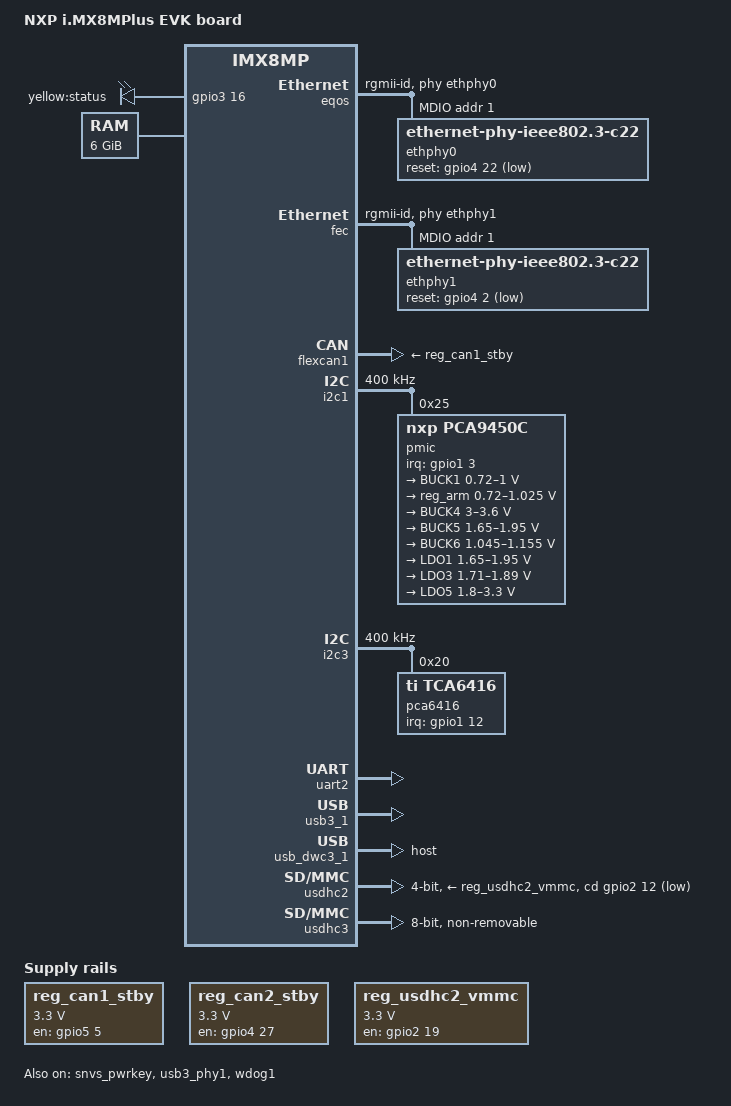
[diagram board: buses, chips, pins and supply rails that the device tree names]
// SPDX-License-Identifier: (GPL-2.0+ OR MIT)
/*
 * Copyright 2019 NXP
 */

/dts-v1/;

#include "imx8mp.dtsi"

/ {
	model = "NXP i.MX8MPlus EVK board";
	compatible = "fsl,imx8mp-evk", "fsl,imx8mp";

	chosen {
		stdout-path = &uart2;
	};

	gpio-leds {
		compatible = "gpio-leds";
		pinctrl-names = "default";
		pinctrl-0 = <&pinctrl_gpio_led>;

		status {
			label = "yellow:status";
			gpios = <&gpio3 16 GPIO_ACTIVE_HIGH>;
			default-state = "on";
		};
	};

	memory@40000000 {
		device_type = "memory";
		reg = <0x0 0x40000000 0 0xc0000000>,
		      <0x1 0x00000000 0 0xc0000000>;
	};

	reg_can1_stby: regulator-can1-stby {
		compatible = "regulator-fixed";
		regulator-name = "can1-stby";
		pinctrl-names = "default";
		pinctrl-0 = <&pinctrl_flexcan1_reg>;
		regulator-min-microvolt = <3300000>;
		regulator-max-microvolt = <3300000>;
		gpio = <&gpio5 5 GPIO_ACTIVE_HIGH>;
		enable-active-high;
	};

	reg_can2_stby: regulator-can2-stby {
		compatible = "regulator-fixed";
		regulator-name = "can2-stby";
		pinctrl-names = "default";
		pinctrl-0 = <&pinctrl_flexcan2_reg>;
		regulator-min-microvolt = <3300000>;
		regulator-max-microvolt = <3300000>;
		gpio = <&gpio4 27 GPIO_ACTIVE_HIGH>;
		enable-active-high;
	};

	reg_usdhc2_vmmc: regulator-usdhc2 {
		compatible = "regulator-fixed";
		pinctrl-names = "default";
		pinctrl-0 = <&pinctrl_reg_usdhc2_vmmc>;
		regulator-name = "VSD_3V3";
		regulator-min-microvolt = <3300000>;
		regulator-max-microvolt = <3300000>;
		gpio = <&gpio2 19 GPIO_ACTIVE_HIGH>;
		enable-active-high;
	};
};

&A53_0 {
	cpu-supply = <&reg_arm>;
};

&A53_1 {
	cpu-supply = <&reg_arm>;
};

&A53_2 {
	cpu-supply = <&reg_arm>;
};

&A53_3 {
	cpu-supply = <&reg_arm>;
};

&eqos {
	pinctrl-names = "default";
	pinctrl-0 = <&pinctrl_eqos>;
	phy-mode = "rgmii-id";
	phy-handle = <&ethphy0>;
	snps,force_thresh_dma_mode;
	snps,mtl-tx-config = <&mtl_tx_setup>;
	snps,mtl-rx-config = <&mtl_rx_setup>;
	status = "okay";

	mdio {
		compatible = "snps,dwmac-mdio";
		#address-cells = <1>;
		#size-cells = <0>;

		ethphy0: ethernet-phy@1 {
			compatible = "ethernet-phy-ieee802.3-c22";
			reg = <1>;
			eee-broken-1000t;
			reset-gpios = <&gpio4 22 GPIO_ACTIVE_LOW>;
			reset-assert-us = <10000>;
			reset-deassert-us = <80000>;
			realtek,clkout-disable;
		};
	};

	mtl_tx_setup: tx-queues-config {
		snps,tx-queues-to-use = <5>;
		snps,tx-sched-sp;

		queue0 {
			snps,dcb-algorithm;
			snps,priority = <0x1>;
		};

		queue1 {
			snps,dcb-algorithm;
			snps,priority = <0x2>;
		};

		queue2 {
			snps,dcb-algorithm;
			snps,priority = <0x4>;
		};

		queue3 {
			snps,dcb-algorithm;
			snps,priority = <0x8>;
		};

		queue4 {
			snps,dcb-algorithm;
			snps,priority = <0xf0>;
		};
	};

	mtl_rx_setup: rx-queues-config {
		snps,rx-queues-to-use = <5>;
		snps,rx-sched-sp;

		queue0 {
			snps,dcb-algorithm;
			snps,priority = <0x1>;
			snps,map-to-dma-channel = <0>;
		};

		queue1 {
			snps,dcb-algorithm;
			snps,priority = <0x2>;
			snps,map-to-dma-channel = <1>;
		};

		queue2 {
			snps,dcb-algorithm;
			snps,priority = <0x4>;
			snps,map-to-dma-channel = <2>;
		};

		queue3 {
			snps,dcb-algorithm;
			snps,priority = <0x8>;
			snps,map-to-dma-channel = <3>;
		};

		queue4 {
			snps,dcb-algorithm;
			snps,priority = <0xf0>;
			snps,map-to-dma-channel = <4>;
		};
	};
};

&fec {
	pinctrl-names = "default";
	pinctrl-0 = <&pinctrl_fec>;
	phy-mode = "rgmii-id";
	phy-handle = <&ethphy1>;
	fsl,magic-packet;
	status = "okay";

	mdio {
		#address-cells = <1>;
		#size-cells = <0>;

		ethphy1: ethernet-phy@1 {
			compatible = "ethernet-phy-ieee802.3-c22";
			reg = <1>;
			eee-broken-1000t;
			reset-gpios = <&gpio4 2 GPIO_ACTIVE_LOW>;
			reset-assert-us = <10000>;
			reset-deassert-us = <80000>;
			realtek,clkout-disable;
		};
	};
};

&flexcan1 {
	pinctrl-names = "default";
	pinctrl-0 = <&pinctrl_flexcan1>;
	xceiver-supply = <&reg_can1_stby>;
	status = "okay";
};

&flexcan2 {
	pinctrl-names = "default";
	pinctrl-0 = <&pinctrl_flexcan2>;
	xceiver-supply = <&reg_can2_stby>;
	status = "disabled";/* can2 pin conflict with pdm */
};

&i2c1 {
	clock-frequency = <400000>;
	pinctrl-names = "default";
	pinctrl-0 = <&pinctrl_i2c1>;
	status = "okay";

	pmic@25 {
		compatible = "nxp,pca9450c";
		reg = <0x25>;
		pinctrl-names = "default";
		pinctrl-0 = <&pinctrl_pmic>;
		interrupt-parent = <&gpio1>;
		interrupts = <3 IRQ_TYPE_LEVEL_LOW>;

		regulators {
			BUCK1 {
				regulator-name = "BUCK1";
				regulator-min-microvolt = <720000>;
				regulator-max-microvolt = <1000000>;
				regulator-boot-on;
				regulator-always-on;
				regulator-ramp-delay = <3125>;
			};

			reg_arm: BUCK2 {
				regulator-name = "BUCK2";
				regulator-min-microvolt = <720000>;
				regulator-max-microvolt = <1025000>;
				regulator-boot-on;
				regulator-always-on;
				regulator-ramp-delay = <3125>;
				nxp,dvs-run-voltage = <950000>;
				nxp,dvs-standby-voltage = <850000>;
			};

			BUCK4 {
				regulator-name = "BUCK4";
				regulator-min-microvolt = <3000000>;
				regulator-max-microvolt = <3600000>;
				regulator-boot-on;
				regulator-always-on;
			};

			BUCK5 {
				regulator-name = "BUCK5";
				regulator-min-microvolt = <1650000>;
				regulator-max-microvolt = <1950000>;
				regulator-boot-on;
				regulator-always-on;
			};

			BUCK6 {
				regulator-name = "BUCK6";
				regulator-min-microvolt = <1045000>;
				regulator-max-microvolt = <1155000>;
				regulator-boot-on;
				regulator-always-on;
			};

			LDO1 {
				regulator-name = "LDO1";
				regulator-min-microvolt = <1650000>;
				regulator-max-microvolt = <1950000>;
				regulator-boot-on;
				regulator-always-on;
			};

			LDO3 {
				regulator-name = "LDO3";
				regulator-min-microvolt = <1710000>;
				regulator-max-microvolt = <1890000>;
				regulator-boot-on;
				regulator-always-on;
			};

			LDO5 {
				regulator-name = "LDO5";
				regulator-min-microvolt = <1800000>;
				regulator-max-microvolt = <3300000>;
				regulator-boot-on;
				regulator-always-on;
			};
		};
	};
};

&i2c3 {
	clock-frequency = <400000>;
	pinctrl-names = "default";
	pinctrl-0 = <&pinctrl_i2c3>;
	status = "okay";

	pca6416: gpio@20 {
		compatible = "ti,tca6416";
		reg = <0x20>;
		gpio-controller;
		#gpio-cells = <2>;
		interrupt-controller;
		#interrupt-cells = <2>;
		pinctrl-names = "default";
		pinctrl-0 = <&pinctrl_pca6416_int>;
		interrupt-parent = <&gpio1>;
		interrupts = <12 IRQ_TYPE_LEVEL_LOW>;
		gpio-line-names = "EXT_PWREN1",
			"EXT_PWREN2",
			"CAN1/I2C5_SEL",
			"PDM/CAN2_SEL",
			"FAN_EN",
			"PWR_MEAS_IO1",
			"PWR_MEAS_IO2",
			"EXP_P0_7",
			"EXP_P1_0",
			"EXP_P1_1",
			"EXP_P1_2",
			"EXP_P1_3",
			"EXP_P1_4",
			"EXP_P1_5",
			"EXP_P1_6",
			"EXP_P1_7";
	};
};

/* I2C on expansion connector J22. */
&i2c5 {
	clock-frequency = <100000>; /* Lower clock speed for external bus. */
	pinctrl-names = "default";
	pinctrl-0 = <&pinctrl_i2c5>;
	status = "disabled"; /* can1 pins conflict with i2c5 */

	/* GPIO 2 of PCA6416 is used to switch between CAN1 and I2C5 functions:
	 *     LOW:  CAN1 (default, pull-down)
	 *     HIGH: I2C5
	 * You need to set it to high to enable I2C5 (for example, add gpio-hog
	 * in pca6416 node).
	 */
};

&snvs_pwrkey {
	status = "okay";
};

&uart2 {
	/* console */
	pinctrl-names = "default";
	pinctrl-0 = <&pinctrl_uart2>;
	status = "okay";
};

&usb3_phy1 {
	status = "okay";
};

&usb3_1 {
	status = "okay";
};

&usb_dwc3_1 {
	pinctrl-names = "default";
	pinctrl-0 = <&pinctrl_usb1_vbus>;
	dr_mode = "host";
	status = "okay";
};

&usdhc2 {
	assigned-clocks = <&clk IMX8MP_CLK_USDHC2>;
	assigned-clock-rates = <400000000>;
	pinctrl-names = "default", "state_100mhz", "state_200mhz";
	pinctrl-0 = <&pinctrl_usdhc2>, <&pinctrl_usdhc2_gpio>;
	pinctrl-1 = <&pinctrl_usdhc2_100mhz>, <&pinctrl_usdhc2_gpio>;
	pinctrl-2 = <&pinctrl_usdhc2_200mhz>, <&pinctrl_usdhc2_gpio>;
	cd-gpios = <&gpio2 12 GPIO_ACTIVE_LOW>;
	vmmc-supply = <&reg_usdhc2_vmmc>;
	bus-width = <4>;
	status = "okay";
};

&usdhc3 {
	assigned-clocks = <&clk IMX8MP_CLK_USDHC3>;
	assigned-clock-rates = <400000000>;
	pinctrl-names = "default", "state_100mhz", "state_200mhz";
	pinctrl-0 = <&pinctrl_usdhc3>;
	pinctrl-1 = <&pinctrl_usdhc3_100mhz>;
	pinctrl-2 = <&pinctrl_usdhc3_200mhz>;
	bus-width = <8>;
	non-removable;
	status = "okay";
};

&wdog1 {
	pinctrl-names = "default";
	pinctrl-0 = <&pinctrl_wdog>;
	fsl,ext-reset-output;
	status = "okay";
};

&iomuxc {
	pinctrl_eqos: eqosgrp {
		fsl,pins = <
			MX8MP_IOMUXC_ENET_MDC__ENET_QOS_MDC				0x2
			MX8MP_IOMUXC_ENET_MDIO__ENET_QOS_MDIO				0x2
			MX8MP_IOMUXC_ENET_RD0__ENET_QOS_RGMII_RD0			0x90
			MX8MP_IOMUXC_ENET_RD1__ENET_QOS_RGMII_RD1			0x90
			MX8MP_IOMUXC_ENET_RD2__ENET_QOS_RGMII_RD2			0x90
			MX8MP_IOMUXC_ENET_RD3__ENET_QOS_RGMII_RD3			0x90
			MX8MP_IOMUXC_ENET_RXC__CCM_ENET_QOS_CLOCK_GENERATE_RX_CLK	0x90
			MX8MP_IOMUXC_ENET_RX_CTL__ENET_QOS_RGMII_RX_CTL			0x90
			MX8MP_IOMUXC_ENET_TD0__ENET_QOS_RGMII_TD0			0x16
			MX8MP_IOMUXC_ENET_TD1__ENET_QOS_RGMII_TD1			0x16
			MX8MP_IOMUXC_ENET_TD2__ENET_QOS_RGMII_TD2			0x16
			MX8MP_IOMUXC_ENET_TD3__ENET_QOS_RGMII_TD3			0x16
			MX8MP_IOMUXC_ENET_TX_CTL__ENET_QOS_RGMII_TX_CTL			0x16
			MX8MP_IOMUXC_ENET_TXC__CCM_ENET_QOS_CLOCK_GENERATE_TX_CLK	0x16
			MX8MP_IOMUXC_SAI2_RXC__GPIO4_IO22				0x10
		>;
	};

	pinctrl_fec: fecgrp {
		fsl,pins = <
			MX8MP_IOMUXC_SAI1_RXD2__ENET1_MDC		0x2
			MX8MP_IOMUXC_SAI1_RXD3__ENET1_MDIO		0x2
			MX8MP_IOMUXC_SAI1_RXD4__ENET1_RGMII_RD0		0x90
			MX8MP_IOMUXC_SAI1_RXD5__ENET1_RGMII_RD1		0x90
			MX8MP_IOMUXC_SAI1_RXD6__ENET1_RGMII_RD2		0x90
			MX8MP_IOMUXC_SAI1_RXD7__ENET1_RGMII_RD3		0x90
			MX8MP_IOMUXC_SAI1_TXC__ENET1_RGMII_RXC		0x90
			MX8MP_IOMUXC_SAI1_TXFS__ENET1_RGMII_RX_CTL	0x90
			MX8MP_IOMUXC_SAI1_TXD0__ENET1_RGMII_TD0		0x16
			MX8MP_IOMUXC_SAI1_TXD1__ENET1_RGMII_TD1		0x16
			MX8MP_IOMUXC_SAI1_TXD2__ENET1_RGMII_TD2		0x16
			MX8MP_IOMUXC_SAI1_TXD3__ENET1_RGMII_TD3		0x16
			MX8MP_IOMUXC_SAI1_TXD4__ENET1_RGMII_TX_CTL	0x16
			MX8MP_IOMUXC_SAI1_TXD5__ENET1_RGMII_TXC		0x16
			MX8MP_IOMUXC_SAI1_RXD0__GPIO4_IO02		0x10
		>;
	};

	pinctrl_flexcan1: flexcan1grp {
		fsl,pins = <
			MX8MP_IOMUXC_SPDIF_RX__CAN1_RX          0x154
			MX8MP_IOMUXC_SPDIF_TX__CAN1_TX          0x154
		>;
	};

	pinctrl_flexcan2: flexcan2grp {
		fsl,pins = <
			MX8MP_IOMUXC_SAI5_MCLK__CAN2_RX         0x154
			MX8MP_IOMUXC_SAI5_RXD3__CAN2_TX         0x154
		>;
	};

	pinctrl_flexcan1_reg: flexcan1reggrp {
		fsl,pins = <
			MX8MP_IOMUXC_SPDIF_EXT_CLK__GPIO5_IO05  0x154   /* CAN1_STBY */
		>;
	};

	pinctrl_flexcan2_reg: flexcan2reggrp {
		fsl,pins = <
			MX8MP_IOMUXC_SAI2_MCLK__GPIO4_IO27      0x154   /* CAN2_STBY */
		>;
	};

	pinctrl_gpio_led: gpioledgrp {
		fsl,pins = <
			MX8MP_IOMUXC_NAND_READY_B__GPIO3_IO16	0x140
		>;
	};

	pinctrl_i2c1: i2c1grp {
		fsl,pins = <
			MX8MP_IOMUXC_I2C1_SCL__I2C1_SCL		0x400001c2
			MX8MP_IOMUXC_I2C1_SDA__I2C1_SDA		0x400001c2
		>;
	};

	pinctrl_i2c3: i2c3grp {
		fsl,pins = <
			MX8MP_IOMUXC_I2C3_SCL__I2C3_SCL		0x400001c2
			MX8MP_IOMUXC_I2C3_SDA__I2C3_SDA		0x400001c2
		>;
	};

	pinctrl_i2c5: i2c5grp {
		fsl,pins = <
			MX8MP_IOMUXC_SPDIF_RX__I2C5_SDA         0x400001c2
			MX8MP_IOMUXC_SPDIF_TX__I2C5_SCL         0x400001c2
		>;
	};

	pinctrl_pmic: pmicgrp {
		fsl,pins = <
			MX8MP_IOMUXC_GPIO1_IO03__GPIO1_IO03	0x000001c0
		>;
	};

	pinctrl_pca6416_int: pca6416_int_grp {
		fsl,pins = <
			MX8MP_IOMUXC_GPIO1_IO12__GPIO1_IO12	0x146 /* Input pull-up. */
		>;
	};

	pinctrl_reg_usdhc2_vmmc: regusdhc2vmmcgrp {
		fsl,pins = <
			MX8MP_IOMUXC_SD2_RESET_B__GPIO2_IO19	0x40
		>;
	};

	pinctrl_uart2: uart2grp {
		fsl,pins = <
			MX8MP_IOMUXC_UART2_RXD__UART2_DCE_RX	0x140
			MX8MP_IOMUXC_UART2_TXD__UART2_DCE_TX	0x140
		>;
	};

	pinctrl_usb1_vbus: usb1grp {
		fsl,pins = <
			MX8MP_IOMUXC_GPIO1_IO14__USB2_OTG_PWR	0x10
		>;
	};

	pinctrl_usdhc2: usdhc2grp {
		fsl,pins = <
			MX8MP_IOMUXC_SD2_CLK__USDHC2_CLK	0x190
			MX8MP_IOMUXC_SD2_CMD__USDHC2_CMD	0x1d0
			MX8MP_IOMUXC_SD2_DATA0__USDHC2_DATA0	0x1d0
			MX8MP_IOMUXC_SD2_DATA1__USDHC2_DATA1	0x1d0
			MX8MP_IOMUXC_SD2_DATA2__USDHC2_DATA2	0x1d0
			MX8MP_IOMUXC_SD2_DATA3__USDHC2_DATA3	0x1d0
			MX8MP_IOMUXC_GPIO1_IO04__USDHC2_VSELECT	0xc0
		>;
	};

	pinctrl_usdhc2_100mhz: usdhc2-100mhzgrp {
		fsl,pins = <
			MX8MP_IOMUXC_SD2_CLK__USDHC2_CLK	0x194
			MX8MP_IOMUXC_SD2_CMD__USDHC2_CMD	0x1d4
			MX8MP_IOMUXC_SD2_DATA0__USDHC2_DATA0	0x1d4
			MX8MP_IOMUXC_SD2_DATA1__USDHC2_DATA1	0x1d4
			MX8MP_IOMUXC_SD2_DATA2__USDHC2_DATA2	0x1d4
			MX8MP_IOMUXC_SD2_DATA3__USDHC2_DATA3	0x1d4
			MX8MP_IOMUXC_GPIO1_IO04__USDHC2_VSELECT 0xc0
		>;
	};

	pinctrl_usdhc2_200mhz: usdhc2-200mhzgrp {
		fsl,pins = <
			MX8MP_IOMUXC_SD2_CLK__USDHC2_CLK	0x196
			MX8MP_IOMUXC_SD2_CMD__USDHC2_CMD	0x1d6
			MX8MP_IOMUXC_SD2_DATA0__USDHC2_DATA0	0x1d6
			MX8MP_IOMUXC_SD2_DATA1__USDHC2_DATA1	0x1d6
			MX8MP_IOMUXC_SD2_DATA2__USDHC2_DATA2	0x1d6
			MX8MP_IOMUXC_SD2_DATA3__USDHC2_DATA3	0x1d6
			MX8MP_IOMUXC_GPIO1_IO04__USDHC2_VSELECT 0xc0
		>;
	};

	pinctrl_usdhc2_gpio: usdhc2gpiogrp {
		fsl,pins = <
			MX8MP_IOMUXC_SD2_CD_B__GPIO2_IO12	0x1c4
		>;
	};

	pinctrl_usdhc3: usdhc3grp {
		fsl,pins = <
			MX8MP_IOMUXC_NAND_WE_B__USDHC3_CLK	0x190
			MX8MP_IOMUXC_NAND_WP_B__USDHC3_CMD	0x1d0
			MX8MP_IOMUXC_NAND_DATA04__USDHC3_DATA0	0x1d0
			MX8MP_IOMUXC_NAND_DATA05__USDHC3_DATA1	0x1d0
			MX8MP_IOMUXC_NAND_DATA06__USDHC3_DATA2	0x1d0
			MX8MP_IOMUXC_NAND_DATA07__USDHC3_DATA3	0x1d0
			MX8MP_IOMUXC_NAND_RE_B__USDHC3_DATA4	0x1d0
			MX8MP_IOMUXC_NAND_CE2_B__USDHC3_DATA5	0x1d0
			MX8MP_IOMUXC_NAND_CE3_B__USDHC3_DATA6	0x1d0
			MX8MP_IOMUXC_NAND_CLE__USDHC3_DATA7	0x1d0
			MX8MP_IOMUXC_NAND_CE1_B__USDHC3_STROBE	0x190
		>;
	};

	pinctrl_usdhc3_100mhz: usdhc3-100mhzgrp {
		fsl,pins = <
			MX8MP_IOMUXC_NAND_WE_B__USDHC3_CLK	0x194
			MX8MP_IOMUXC_NAND_WP_B__USDHC3_CMD	0x1d4
			MX8MP_IOMUXC_NAND_DATA04__USDHC3_DATA0	0x1d4
			MX8MP_IOMUXC_NAND_DATA05__USDHC3_DATA1	0x1d4
			MX8MP_IOMUXC_NAND_DATA06__USDHC3_DATA2	0x1d4
			MX8MP_IOMUXC_NAND_DATA07__USDHC3_DATA3	0x1d4
			MX8MP_IOMUXC_NAND_RE_B__USDHC3_DATA4	0x1d4
			MX8MP_IOMUXC_NAND_CE2_B__USDHC3_DATA5	0x1d4
			MX8MP_IOMUXC_NAND_CE3_B__USDHC3_DATA6	0x1d4
			MX8MP_IOMUXC_NAND_CLE__USDHC3_DATA7	0x1d4
			MX8MP_IOMUXC_NAND_CE1_B__USDHC3_STROBE	0x194
		>;
	};

	pinctrl_usdhc3_200mhz: usdhc3-200mhzgrp {
		fsl,pins = <
			MX8MP_IOMUXC_NAND_WE_B__USDHC3_CLK	0x196
			MX8MP_IOMUXC_NAND_WP_B__USDHC3_CMD	0x1d6
			MX8MP_IOMUXC_NAND_DATA04__USDHC3_DATA0	0x1d6
			MX8MP_IOMUXC_NAND_DATA05__USDHC3_DATA1	0x1d6
			MX8MP_IOMUXC_NAND_DATA06__USDHC3_DATA2	0x1d6
			MX8MP_IOMUXC_NAND_DATA07__USDHC3_DATA3	0x1d6
			MX8MP_IOMUXC_NAND_RE_B__USDHC3_DATA4	0x1d6
			MX8MP_IOMUXC_NAND_CE2_B__USDHC3_DATA5	0x1d6
			MX8MP_IOMUXC_NAND_CE3_B__USDHC3_DATA6	0x1d6
			MX8MP_IOMUXC_NAND_CLE__USDHC3_DATA7	0x1d6
			MX8MP_IOMUXC_NAND_CE1_B__USDHC3_STROBE	0x196
		>;
	};

	pinctrl_wdog: wdoggrp {
		fsl,pins = <
			MX8MP_IOMUXC_GPIO1_IO02__WDOG1_WDOG_B	0x166
		>;
	};
};
